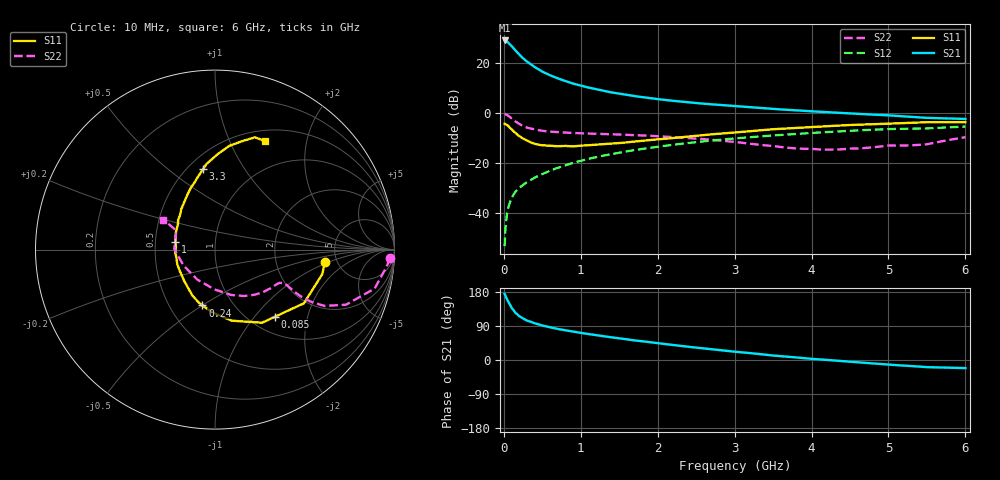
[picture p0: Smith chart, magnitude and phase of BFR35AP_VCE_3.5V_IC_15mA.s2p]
! Infineon Technologies  Discrete & RF Semiconductors
! BFR35AP
! VCE =  3.5 V,  IC =  15 mA
! Common Emitter S-Parameters:  Nov 2015
# GHz  S  MA  R  50
!  f  S11  S21  S12  S22
! GHz  MAG  ANG  MAG  ANG  MAG  ANG  MAG  ANG
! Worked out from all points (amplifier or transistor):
!   210 points, 10 MHz to 6 GHz, reference 50 ohm
!   highest |S21| = 29.1 dB at 10 MHz (marker M1)
!   |S21| within 3 dB of that: start of sweep to 122.5 MHz
!   unconditionally stable (mu >= 1): 460.9 MHz to 3.214 GHz
!   at 185 MHz: K = 0.67, MSG = 27.2 dB, |S12| = -30.3 dB
!   at 1.52 GHz: K = 1.10, MAG = 9.7 dB, |S12| = -15.6 dB
!   at 6 GHz: K = 0.95, MSG = 1.5 dB, |S12| = -5.3 dB
!   S11 on the Smith chart (normalised r, x): 10 MHz: 3.99, -0.90; 85 MHz: 1.28, -1.28; 240 MHz: 0.72, -0.50; 1 GHz: 0.64, +0.06; 3.3 GHz: 0.59, +0.67; 6 GHz: 0.63, +1.36
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0.01  0.6157 -6.5  28.64 174.7  0.0022 86.0  0.9759 -2.8
0.02  0.6132 -12.9  28.15 169.7  0.0047 80.0  0.9606 -5.7
0.05  0.5787 -31.1  26.66 156.1  0.0117 78.5  0.9157 -13.7
0.085  0.501 -48.4  23.35 144.0  0.0175 71.3  0.8269 -19.8
0.1  0.4846 -57.2  22.31 137.9  0.02 69.5  0.7921 -22.8
0.15  0.407 -76.7  18.08 124.5  0.0269 65.5  0.6878 -27.2
0.2  0.3497 -92.4  14.99 115.7  0.0321 64.8  0.6093 -28.5
0.24  0.3192 -102.7  13.04 110.6  0.0359 64.8  0.5659 -28.7
0.3  0.285 -116.3  10.81 104.1  0.042 65.0  0.519 -28.3
0.4  0.2456 -134.0  8.417 96.9  0.0514 66.4  0.474 -27.2
0.5  0.2297 -148.2  6.814 90.9  0.0609 67.5  0.4461 -26.3
0.7  0.2196 -168.5  5.005 81.9  0.0811 68.4  0.4204 -26.4
0.8  0.2228 -176.6  4.392 78.2  0.0915 67.7  0.4108 -26.8
1  0.2255 168.7  3.574 71.4  0.1122 67.3  0.3997 -28.2
1.02  0.2262 167.5  3.513 70.9  0.1143 67.1  0.3984 -28.4
1.4  0.2467 148.0  2.616 59.8  0.1527 64.2  0.3811 -33.5
2.02  0.3027 126.7  1.905 44.0  0.2164 58.0  0.3471 -44.6
3.1  0.4253 102.0  1.354 20.1  0.3234 44.8  0.2567 -73.8
3.3  0.452 98.6  1.285 16.2  0.3416 42.1  0.2364 -81.8
4.1  0.5422 87.0  1.075 1.7  0.4133 31.8  0.1895 -127.0
5.1  0.6286 75.1  0.889 -13.5  0.4861 17.8  0.2259 173.9
6  0.6657 65.3  0.771 -21.4  0.543 7.5  0.3327 149.8
